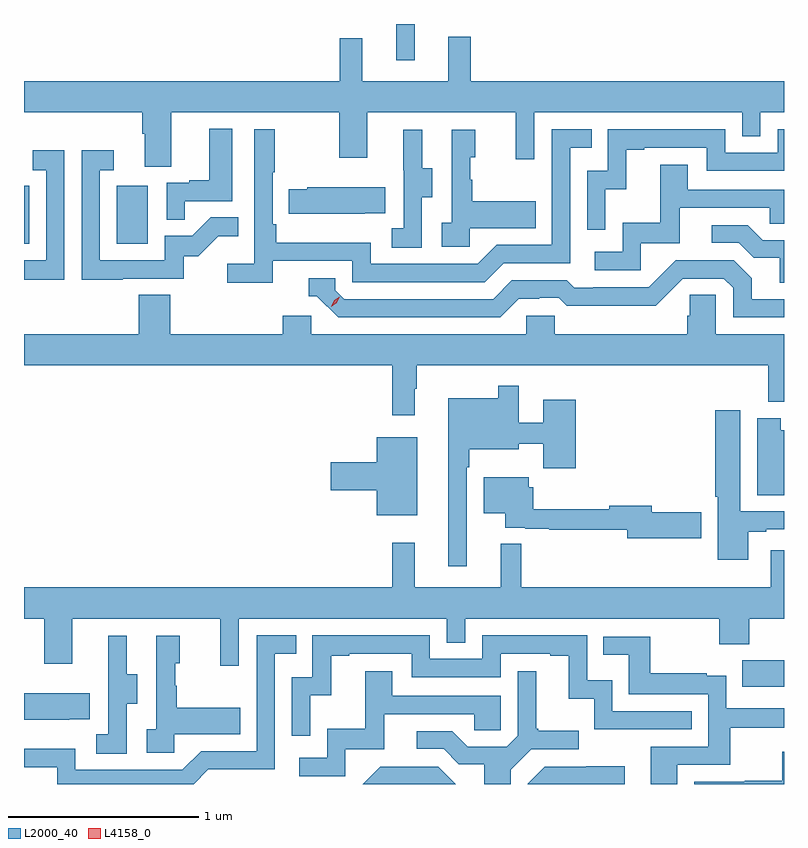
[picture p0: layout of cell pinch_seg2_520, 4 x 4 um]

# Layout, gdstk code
import gdstk
lib = gdstk.Library(unit=1e-6, precision=1e-09)
def R(c, l, rs):  # rectangles x0, y0, x1, y1
    for r in rs: c.add(gdstk.rectangle(r[:2], r[2:], *l))
def P(c, l, *ps):  # polygons
    for p in ps: c.add(gdstk.Polygon(p, *l))
L2000_40 = (2000, 40)
L4158_0 = (4158, 0)

pinch_seg2_520 = lib.new_cell('pinch_seg2_520')
R(pinch_seg2_520, L2000_40, [(993.558,602.988,993.586,603.295), (994.046,602.988,994.21,603.295), (995.517,603.954,995.614,604.145)])
P(pinch_seg2_520, L2000_40, [(993.558,603.68),(994.181,603.68),(994.181,603.568),(994.193,603.568),(994.193,603.394),(994.333,603.394),(994.333,603.68),(995.218,603.68),(995.218,603.441),(995.365,603.441),(995.365,603.68),(996.146,603.68),(996.146,603.432),(996.243,603.432),(996.243,603.68),(997.338,603.68),(997.338,603.553),(997.434,603.553),(997.434,603.68),(997.558,603.68),(997.558,603.844),(995.909,603.844),(995.909,604.078),(995.792,604.078),(995.792,603.844),(995.339,603.844),(995.339,604.069),(995.221,604.069),(995.221,603.844),(993.558,603.844)],
  [(994.403,603.213),(994.654,603.213),(994.654,603.595),(994.532,603.595),(994.532,603.322),(994.429,603.322),(994.429,603.309),(994.308,603.309),(994.308,603.115),(994.403,603.115)],
  [(994.868,602.898),(995.286,602.898),(995.286,602.787),(995.983,602.787),(996.082,602.886),(996.432,602.886),(996.432,603.495),(996.545,603.495),(996.545,603.591),(996.336,603.591),(996.336,602.982),(996.045,602.982),(995.946,602.883),(995.382,602.883),(995.382,602.995),(994.886,602.995),(994.886,603.091),(994.866,603.091),(994.866,603.364),(994.879,603.364),(994.879,603.592),(994.77,603.592),(994.77,602.884),(994.629,602.884),(994.629,602.782),(994.868,602.782)],
  [(996.618,603.275),(996.728,603.275),(996.728,603.483),(996.823,603.483),(996.823,603.495),(997.152,603.495),(997.152,603.372),(997.558,603.372),(997.558,603.591),(997.524,603.591),(997.524,603.468),(997.248,603.468),(997.248,603.591),(996.63,603.591),(996.63,603.372),(996.522,603.372),(996.522,603.063),(996.618,603.063)],
  [(995.904,603.071),(996.251,603.071),(996.251,603.211),(995.917,603.211),(995.917,603.326),(995.907,603.326),(995.907,603.444),(995.932,603.444),(995.932,603.589),(995.808,603.589),(995.808,603.098),(995.757,603.098),(995.757,602.973),(995.904,602.973)],
  [(995.652,603.232),(995.707,603.232),(995.707,603.387),(995.653,603.387),(995.653,603.589),(995.555,603.589),(995.555,603.375),(995.556,603.375),(995.556,603.071),(995.493,603.071),(995.493,602.968),(995.652,602.968)],
  [(994.079,602.805),(994.398,602.805),(994.398,602.922),(994.474,602.922),(994.581,603.029),(994.685,603.029),(994.685,603.128),(994.542,603.128),(994.444,603.03),(994.299,603.03),(994.299,602.901),(993.957,602.901),(993.957,603.375),(994.03,603.375),(994.03,603.481),(993.861,603.481),(993.861,602.8),(994.079,602.8)],
  [(993.771,603.481),(993.603,603.481),(993.603,603.375),(993.675,603.375),(993.675,602.901),(993.558,602.901),(993.558,602.8),(993.771,602.8)],
  [(996.804,602.991),(997.009,602.991),(997.009,603.177),(997.483,603.177),(997.483,603.093),(997.558,603.093),(997.558,603.273),(997.051,603.273),(997.051,603.403),(996.907,603.403),(996.907,603.1),(996.708,603.1),(996.708,602.946),(996.561,602.946),(996.561,602.85),(996.804,602.85)],
  [(995.351,603.149),(995.459,603.149),(995.459,603.286),(995.049,603.286),(995.049,603.276),(994.951,603.276),(994.951,603.146),(995.351,603.146)],
  [(997.558,603.006),(997.447,603.006),(997.366,603.087),(997.179,603.087),(997.179,602.994),(997.32,602.994),(997.4,602.914),(997.535,602.914),(997.535,602.782),(997.558,602.782)],
  [(996.163,602.7),(996.27,602.7),(996.27,602.703),(996.373,602.703),(996.415,602.661),(996.648,602.661),(996.648,602.663),(996.884,602.663),(997.026,602.805),(997.242,602.805),(997.29,602.757),(997.29,602.601),(997.558,602.601),(997.558,602.697),(997.387,602.697),(997.387,602.807),(997.293,602.901),(996.987,602.901),(996.846,602.76),(996.553,602.76),(996.553,602.757),(996.454,602.757),(996.415,602.796),(996.126,602.796),(996.027,602.697),(995.244,602.697),(995.196,602.745),(995.196,602.808),(995.057,602.808),(995.057,602.712),(995.1,602.712),(995.211,602.601),(996.064,602.601)],
  [(995.614,602.225),(995.626,602.225),(995.626,602.348),(997.475,602.348),(997.475,602.156),(997.558,602.156),(997.558,602.512),(997.2,602.512),(997.2,602.72),(997.063,602.72),(997.063,602.61),(997.049,602.61),(997.049,602.512),(996.351,602.512),(996.351,602.61),(996.201,602.61),(996.201,602.512),(995.07,602.512),(995.07,602.61),(994.919,602.61),(994.919,602.512),(994.328,602.512),(994.328,602.72),(994.163,602.72),(994.163,602.512),(993.558,602.512),(993.558,602.348),(995.497,602.348),(995.497,602.085),(995.614,602.085)],
  [(995.889,601.811),(995.902,601.811),(995.902,601.907),(996.163,601.907),(996.163,601.937),(996.29,601.937),(996.29,601.806),(996.461,601.806),(996.461,602.167),(996.29,602.167),(996.29,602.047),(996.162,602.047),(996.162,602.242),(996.054,602.242),(996.054,602.176),(995.792,602.176),(995.792,601.29),(995.889,601.29)],
  [(997.369,601.473),(997.465,601.473),(997.465,601.485),(997.558,601.485),(997.558,601.581),(997.327,601.581),(997.327,602.113),(997.196,602.113),(997.196,601.657),(997.208,601.657),(997.208,601.326),(997.369,601.326)],
  [(997.558,602.007),(997.54,602.007),(997.54,602.071),(997.418,602.071),(997.418,601.666),(997.558,601.666)],
  [(995.629,601.969),(995.414,601.969),(995.414,601.838),(995.172,601.838),(995.172,601.691),(995.414,601.691),(995.414,601.559),(995.629,601.559)],
  [(997.123,601.574),(996.862,601.574),(996.862,601.61),(996.638,601.61),(996.638,601.592),(996.239,601.592),(996.239,601.707),(996.214,601.707),(996.214,601.759),(995.978,601.759),(995.978,601.571),(996.092,601.571),(996.092,601.494),(996.196,601.494),(996.196,601.488),(996.322,601.488),(996.322,601.482),(996.734,601.482),(996.734,601.439),(997.123,601.439)],
  [(996.176,601.409),(996.068,601.409),(996.068,601.18),(995.615,601.18),(995.615,601.414),(995.497,601.414),(995.497,601.18),(993.558,601.18),(993.558,601.016),(993.664,601.016),(993.664,600.777),(993.811,600.777),(993.811,601.016),(994.592,601.016),(994.592,600.768),(994.689,600.768),(994.689,601.016),(995.784,601.016),(995.784,600.889),(995.88,600.889),(995.88,601.016),(997.216,601.016),(997.216,600.881),(997.376,600.881),(997.376,601.016),(997.558,601.016),(997.558,601.375),(997.487,601.375),(997.487,601.18),(996.176,601.18)],
  [(995.064,600.611),(995.174,600.611),(995.174,600.819),(995.269,600.819),(995.269,600.831),(995.598,600.831),(995.598,600.708),(996.066,600.708),(996.066,600.831),(996.329,600.831),(996.329,600.819),(996.425,600.819),(996.425,600.593),(996.558,600.593),(996.558,600.432),(997.073,600.432),(997.073,600.528),(996.654,600.528),(996.654,600.691),(996.522,600.691),(996.522,600.927),(995.97,600.927),(995.97,600.804),(995.694,600.804),(995.694,600.927),(995.076,600.927),(995.076,600.708),(994.968,600.708),(994.968,600.399),(995.064,600.399)],
  [(994.528,600.222),(994.878,600.222),(994.878,600.831),(994.991,600.831),(994.991,600.927),(994.782,600.927),(994.782,600.318),(994.491,600.318),(994.392,600.219),(993.828,600.219),(993.828,600.331),(993.558,600.331),(993.558,600.234),(993.732,600.234),(993.732,600.145),(994.451,600.145)],
  [(994.35,600.407),(994.697,600.407),(994.697,600.547),(994.363,600.547),(994.363,600.662),(994.353,600.662),(994.353,600.78),(994.378,600.78),(994.378,600.925),(994.254,600.925),(994.254,600.434),(994.203,600.434),(994.203,600.309),(994.35,600.309)],
  [(994.098,600.568),(994.153,600.568),(994.153,600.723),(994.099,600.723),(994.099,600.925),(994.001,600.925),(994.001,600.711),(994.002,600.711),(994.002,600.407),(993.939,600.407),(993.939,600.304),(994.098,600.304)],
  [(996.997,600.246),(997.274,600.246),(997.274,600.442),(997.558,600.442),(997.558,600.543),(997.254,600.543),(997.254,600.715),(997.151,600.715),(997.151,600.727),(996.853,600.727),(996.853,600.921),(996.607,600.921),(996.607,600.824),(996.742,600.824),(996.742,600.618),(997.158,600.618),(997.158,600.342),(996.857,600.342),(996.857,600.145),(996.997,600.145)],
  [(997.553,600.657),(997.558,600.657),(997.558,600.796),(997.339,600.796),(997.339,600.656),(997.553,600.656)],
  [(996.121,600.22),(996.228,600.327),(996.478,600.327),(996.478,600.424),(996.265,600.424),(996.265,600.436),(996.253,600.436),(996.253,600.739),(996.156,600.739),(996.156,600.399),(996.099,600.342),(995.893,600.342),(995.812,600.423),(995.625,600.423),(995.625,600.33),(995.766,600.33),(995.846,600.25),(995.981,600.25),(995.981,600.145),(996.121,600.145)],
  [(995.25,600.327),(995.455,600.327),(995.455,600.513),(995.929,600.513),(995.929,600.429),(996.066,600.429),(996.066,600.609),(995.497,600.609),(995.497,600.739),(995.353,600.739),(995.353,600.436),(995.154,600.436),(995.154,600.282),(995.007,600.282),(995.007,600.186),(995.25,600.186)],
  [(993.797,600.485),(993.905,600.485),(993.905,600.622),(993.558,600.622),(993.558,600.482),(993.797,600.482)],
  [(997.558,600.316),(997.548,600.316),(997.548,600.161),(997.351,600.161),(997.351,600.156),(997.086,600.156),(997.086,600.145),(997.558,600.145)],
  [(996.721,600.239),(996.516,600.239),(996.516,600.237),(996.3,600.237),(996.21,600.147),(996.21,600.145),(996.721,600.145)],
  [(995.739,600.237),(995.433,600.237),(995.341,600.145),(995.831,600.145)])
P(pinch_seg2_520, L4158_0, [(995.174,602.657),(995.174,602.658),(995.19,602.69),(995.221,602.71),(995.221,602.71),(995.221,602.71),(995.205,602.677),(995.174,602.657)])

lib.write_gds('pinch_seg2_520.gds')
